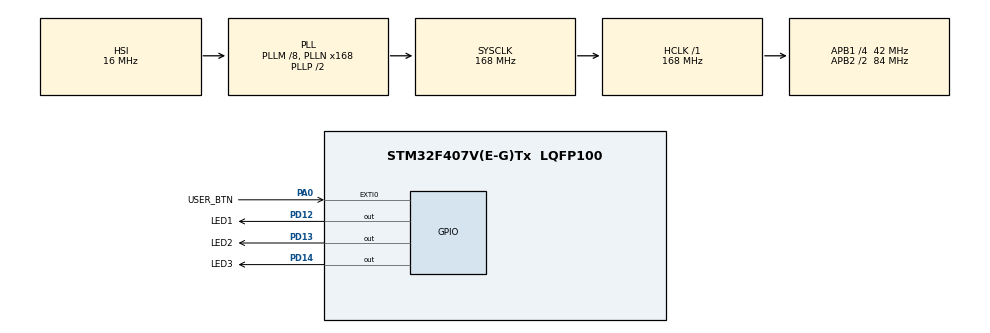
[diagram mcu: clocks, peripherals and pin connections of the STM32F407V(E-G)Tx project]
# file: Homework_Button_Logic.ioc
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Mcu.Family=STM32F4
Mcu.Name=STM32F407V(E-G)Tx
Mcu.Package=LQFP100
NVIC.EXTI0_IRQn=true\:0\:0\:false\:false\:true\:true\:true\:true
NVIC.PriorityGroup=NVIC_PRIORITYGROUP_4
PA0-WKUP.GPIO_Label=USER_BTN
PA0-WKUP.GPIO_PuPd=GPIO_PULLDOWN
PA0-WKUP.Signal=GPXTI0
PD12.GPIO_Label=LED1
PD12.Signal=GPIO_Output
PD13.GPIO_Label=LED2
PD13.Signal=GPIO_Output
PD14.GPIO_Label=LED3
PD14.Signal=GPIO_Output
ProjectManager.HeapSize=0x200
ProjectManager.StackSize=0x400
ProjectManager.TargetToolchain=STM32CubeIDE
RCC.48MHZClocksFreq_Value=84000000
RCC.AHBFreq_Value=168000000
RCC.APB1CLKDivider=RCC_HCLK_DIV4
RCC.APB1Freq_Value=42000000
RCC.APB1TimFreq_Value=84000000
RCC.APB2CLKDivider=RCC_HCLK_DIV2
RCC.APB2Freq_Value=84000000
RCC.APB2TimFreq_Value=168000000
RCC.CortexFreq_Value=168000000
RCC.HCLKFreq_Value=168000000
RCC.HSE_VALUE=25000000
RCC.HSI_VALUE=16000000
RCC.LSE_VALUE=32768
RCC.PLLM=8
RCC.PLLN=168
RCC.SYSCLKFreq_VALUE=168000000
RCC.SYSCLKSource=RCC_SYSCLKSOURCE_PLLCLK
RCC.VCOOutputFreq_Value=336000000
board=custom

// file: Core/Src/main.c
/* USER CODE BEGIN Header */
/**
  ******************************************************************************
  * @file           : main.c
  * @brief          : Main program body
  ******************************************************************************
  * @attention
  *
  * Copyright (c) 2025 STMicroelectronics.
  * All rights reserved.
  *
  * This software is licensed under terms that can be found in the LICENSE file
  * in the root directory of this software component.
  * If no LICENSE file comes with this software, it is provided AS-IS.
  *
  ******************************************************************************
  */
/* USER CODE END Header */
#include "main.h"

/* USER CODE BEGIN PV */
// Định nghĩa các trạng thái của hệ thống
typedef enum {
  STATE_OFF,
  STATE_LED1_ON,
  STATE_LED2_ON,
  STATE_LED3_ON
} SystemState_t;

// Biến lưu trạng thái hiện tại, 'volatile' vì nó được thay đổi trong ngắt và dùng ở main
volatile SystemState_t currentState = STATE_OFF;

// Biến cờ báo hiệu có một sự kiện nhấn nút mới
volatile uint8_t button_event_flag = 0;

// Các biến thời gian để xử lý logic nhấn
uint32_t button_press_time = 0;
uint8_t click_count = 0;
uint32_t last_click_time = 0;
/* USER CODE END PV */

void SystemClock_Config(void);
static void MX_GPIO_Init(void);
/* USER CODE BEGIN PFP */
void setLedState(SystemState_t state);
/* USER CODE END PFP */

int main(void)
{

  /* MCU Configuration--------------------------------------------------------*/

  /* Reset of all peripherals, Initializes the Flash interface and the Systick. */
  HAL_Init();

  /* Configure the system clock */
  SystemClock_Config();

  /* Initialize all configured peripherals */
  MX_GPIO_Init();

  /* Infinite loop */
  /* USER CODE BEGIN WHILE */
  while (1)
  {
	  // --- XỬ LÝ SỰ KIỆN NHẤN NÚT ---
	  if (button_event_flag)
	  {
	    // Đợi đến khi nút được nhả ra
	    if (HAL_GPIO_ReadPin(USER_BTN_GPIO_Port, USER_BTN_Pin) == GPIO_PIN_RESET)
	    {
	      // Nút đã được nhả ra, tính thời gian nhấn
	      uint32_t press_duration = HAL_GetTick() - button_press_time;

	      if (press_duration > 3000) // Nhấn giữ hơn 3 giây
	      {
	        click_count = 0; // Reset bộ đếm click
	        if (currentState != STATE_OFF)
	        {
	          currentState = STATE_OFF;
	        }
	      }
	      else // Nhấn thả (click)
	      {
	        click_count++;
	        last_click_time = HAL_GetTick();
	      }
	      button_event_flag = 0; // Xử lý xong sự kiện, hạ cờ
	    }
	  }

	  // --- XỬ LÝ LOGIC CLICK/DOUBLE CLICK ---
	  // Kiểm tra xem có click nào đang chờ xử lý không và đã qua "cửa sổ" chờ nhấn đúp chưa
	  // Cửa sổ chờ nhấn đúp là 300ms
	  if (click_count > 0 && HAL_GetTick() - last_click_time > 300)
	  {
	    if (click_count == 1) // Chỉ có 1 click
	    {
	      if (currentState == STATE_OFF)
	      {
	        currentState = STATE_LED1_ON;
	      }
	    }
	    else if (click_count >= 2) // Có 2 click (hoặc hơn)
	    {
	      if (currentState == STATE_LED1_ON) currentState = STATE_LED2_ON;
	      else if (currentState == STATE_LED2_ON) currentState = STATE_LED3_ON;
	      else if (currentState == STATE_LED3_ON) currentState = STATE_LED1_ON;
	    }
	    click_count = 0; // Reset bộ đếm click
	  }

	  // Cập nhật trạng thái đèn LED
	  setLedState(currentState);
    /* USER CODE END WHILE */

  }
}

void SystemClock_Config(void)
{
  RCC_OscInitTypeDef RCC_OscInitStruct = {0};
  RCC_ClkInitTypeDef RCC_ClkInitStruct = {0};

  /** Configure the main internal regulator output voltage
  */
  __HAL_RCC_PWR_CLK_ENABLE();
  __HAL_PWR_VOLTAGESCALING_CONFIG(PWR_REGULATOR_VOLTAGE_SCALE1);

  /** Initializes the RCC Oscillators according to the specified parameters
  * in the RCC_OscInitTypeDef structure.
  */
  RCC_OscInitStruct.OscillatorType = RCC_OSCILLATORTYPE_HSI;
  RCC_OscInitStruct.HSIState = RCC_HSI_ON;
  RCC_OscInitStruct.HSICalibrationValue = RCC_HSICALIBRATION_DEFAULT;
  RCC_OscInitStruct.PLL.PLLState = RCC_PLL_ON;
  RCC_OscInitStruct.PLL.PLLSource = RCC_PLLSOURCE_HSI;
  RCC_OscInitStruct.PLL.PLLM = 8;
  RCC_OscInitStruct.PLL.PLLN = 168;
  RCC_OscInitStruct.PLL.PLLP = RCC_PLLP_DIV2;
  RCC_OscInitStruct.PLL.PLLQ = 4;
  if (HAL_RCC_OscConfig(&RCC_OscInitStruct) != HAL_OK)
  {
    Error_Handler();
  }

  /** Initializes the CPU, AHB and APB buses clocks
  */
  RCC_ClkInitStruct.ClockType = RCC_CLOCKTYPE_HCLK|RCC_CLOCKTYPE_SYSCLK
                              |RCC_CLOCKTYPE_PCLK1|RCC_CLOCKTYPE_PCLK2;
  RCC_ClkInitStruct.SYSCLKSource = RCC_SYSCLKSOURCE_PLLCLK;
  RCC_ClkInitStruct.AHBCLKDivider = RCC_SYSCLK_DIV1;
  RCC_ClkInitStruct.APB1CLKDivider = RCC_HCLK_DIV4;
  RCC_ClkInitStruct.APB2CLKDivider = RCC_HCLK_DIV2;

  if (HAL_RCC_ClockConfig(&RCC_ClkInitStruct, FLASH_LATENCY_5) != HAL_OK)
  {
    Error_Handler();
  }
}

static void MX_GPIO_Init(void)
{
  GPIO_InitTypeDef GPIO_InitStruct = {0};

  /* GPIO Ports Clock Enable */
  __HAL_RCC_GPIOA_CLK_ENABLE();
  __HAL_RCC_GPIOD_CLK_ENABLE();

  /*Configure GPIO pin Output Level */
  HAL_GPIO_WritePin(GPIOD, LED1_Pin|LED2_Pin|LED3_Pin, GPIO_PIN_RESET);

  /*Configure GPIO pin : USER_BTN_Pin */
  GPIO_InitStruct.Pin = USER_BTN_Pin;
  GPIO_InitStruct.Mode = GPIO_MODE_IT_RISING;
  GPIO_InitStruct.Pull = GPIO_PULLDOWN;
  HAL_GPIO_Init(USER_BTN_GPIO_Port, &GPIO_InitStruct);

  /*Configure GPIO pins : LED1_Pin LED2_Pin LED3_Pin */
  GPIO_InitStruct.Pin = LED1_Pin|LED2_Pin|LED3_Pin;
  GPIO_InitStruct.Mode = GPIO_MODE_OUTPUT_PP;
  GPIO_InitStruct.Pull = GPIO_NOPULL;
  GPIO_InitStruct.Speed = GPIO_SPEED_FREQ_LOW;
  HAL_GPIO_Init(GPIOD, &GPIO_InitStruct);

  /* EXTI interrupt init*/
  HAL_NVIC_SetPriority(EXTI0_IRQn, 0, 0);
  HAL_NVIC_EnableIRQ(EXTI0_IRQn);

}

/* USER CODE BEGIN 4 */
void setLedState(SystemState_t state);
void HAL_GPIO_EXTI_Callback(uint16_t GPIO_Pin)
{
  // Chỉ xử lý ngắt từ chân nút nhấn PA0
  if (GPIO_Pin == USER_BTN_Pin)
  {
    // Chống dội phím (debounce) 50ms
    if (HAL_GetTick() - button_press_time > 50)
    {
      // Ghi lại thời điểm nhấn nút
      button_press_time = HAL_GetTick();
      // Bật cờ báo cho vòng lặp main biết có sự kiện
      button_event_flag = 1;
    }
  }
}

// Hàm trợ giúp để điều khiển đèn LED cho gọn
void setLedState(SystemState_t state)
{
  switch(state)
  {
    case STATE_OFF:
      HAL_GPIO_WritePin(LED1_GPIO_Port, LED1_Pin, GPIO_PIN_RESET);
      HAL_GPIO_WritePin(LED2_GPIO_Port, LED2_Pin, GPIO_PIN_RESET);
      HAL_GPIO_WritePin(LED3_GPIO_Port, LED3_Pin, GPIO_PIN_RESET);
      break;
    case STATE_LED1_ON:
      HAL_GPIO_WritePin(LED1_GPIO_Port, LED1_Pin, GPIO_PIN_SET);
      HAL_GPIO_WritePin(LED2_GPIO_Port, LED2_Pin, GPIO_PIN_RESET);
      HAL_GPIO_WritePin(LED3_GPIO_Port, LED3_Pin, GPIO_PIN_RESET);
      break;
    case STATE_LED2_ON:
      HAL_GPIO_WritePin(LED1_GPIO_Port, LED1_Pin, GPIO_PIN_RESET);
      HAL_GPIO_WritePin(LED2_GPIO_Port, LED2_Pin, GPIO_PIN_SET);
      HAL_GPIO_WritePin(LED3_GPIO_Port, LED3_Pin, GPIO_PIN_RESET);
      break;
    case STATE_LED3_ON:
      HAL_GPIO_WritePin(LED1_GPIO_Port, LED1_Pin, GPIO_PIN_RESET);
      HAL_GPIO_WritePin(LED2_GPIO_Port, LED2_Pin, GPIO_PIN_RESET);
      HAL_GPIO_WritePin(LED3_GPIO_Port, LED3_Pin, GPIO_PIN_SET);
      break;
  }
}
/* USER CODE END 4 */

void Error_Handler(void)
{
  __disable_irq();
  while (1)
  {
  }
}
